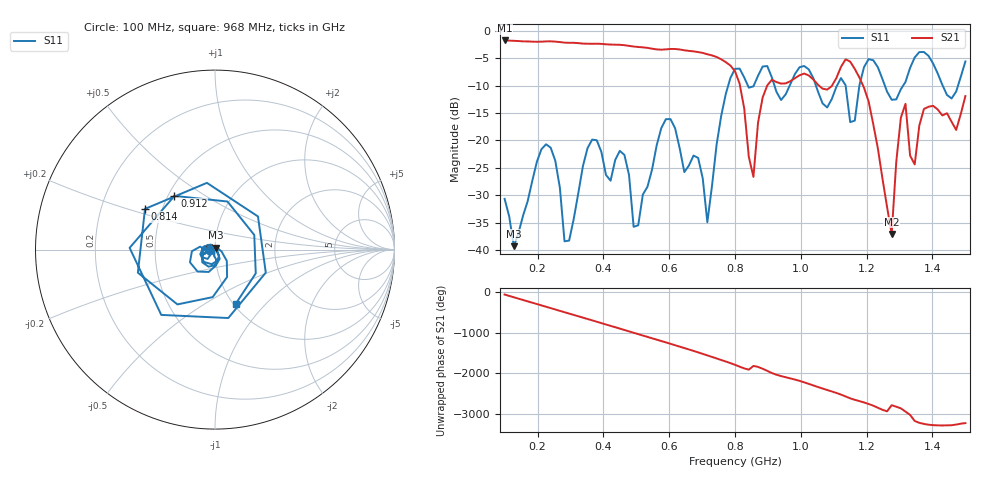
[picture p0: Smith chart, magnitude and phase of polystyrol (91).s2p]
! NanoVNA-App
! Date: 2025-09-26 09:42:35
! Start: 100MHz Stop: 1,5GHz Points: 101
! S-Parameter data: F S11 S21 S12 S22
# Hz S RI R 50
!  Frequency  S11_Real  S11_Imag  S21_Real  S21_Imag  S12_Real  S12_Imag  S22_Real  S22_Imag
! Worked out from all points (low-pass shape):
!   101 points, 100 MHz to 1.5 GHz, reference 50 ohm
!   highest |S21| = -1.79 dB at 100 MHz (marker M1); lowest = -37.0 dB at 1.276 GHz (marker M2)
!   |S21| within 3 dB of the highest: start of sweep to 743.6 MHz
!   lowest |S11| = -39.3 dB at 128 MHz (marker M3), VSWR 1.02, Z = 50.3 + j1.06 ohm
!   |S11| at or under -10 dB: start of sweep to 779.4 MHz; 1.046 GHz to 1.11 GHz (64.36 MHz wide, 5.97 % of centre); 1.255 GHz to 1.311 GHz (55.83 MHz wide, 4.35 % of centre)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
!   S12 and S22 are empty: the file has one direction only
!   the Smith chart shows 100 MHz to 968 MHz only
!   S11 on the Smith chart (normalised r, x): 100 MHz: 0.94, -0.01; 814 MHz: 0.40, +0.23; 912 MHz: 0.54, +0.38; 968 MHz: 1.02, -0.69
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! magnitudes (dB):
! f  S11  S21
! 100 MHz  -30.7  -1.8
! 128 MHz  -39.3  -1.9
! 212 MHz  -21.6  -2.0
! 254 MHz  -23.7  -2.0
! 282 MHz  -38.4  -2.2
! 338 MHz  -24.7  -2.4
! 464 MHz  -22.6  -2.7
! 506 MHz  -35.5  -3.0
! 576 MHz  -17.8  -3.5
! 688 MHz  -23.2  -3.9
! 716 MHz  -34.9  -4.3
! 800 MHz  -7.0  -7.4
! 814 MHz  -6.9  -9.7
! 856 MHz  -10.2  -26.6
! 912 MHz  -8.5  -9.0
! 968 MHz  -9.8  -9.2
! 1.038 GHz  -8.7  -8.9
! 1.178 GHz  -10.0  -8.6
! 1.276 GHz  -12.6  -37.0
! 1.318 GHz  -9.3  -13.3
! 1.346 GHz  -4.9  -24.4
! 1.5 GHz  -5.6  -11.9
